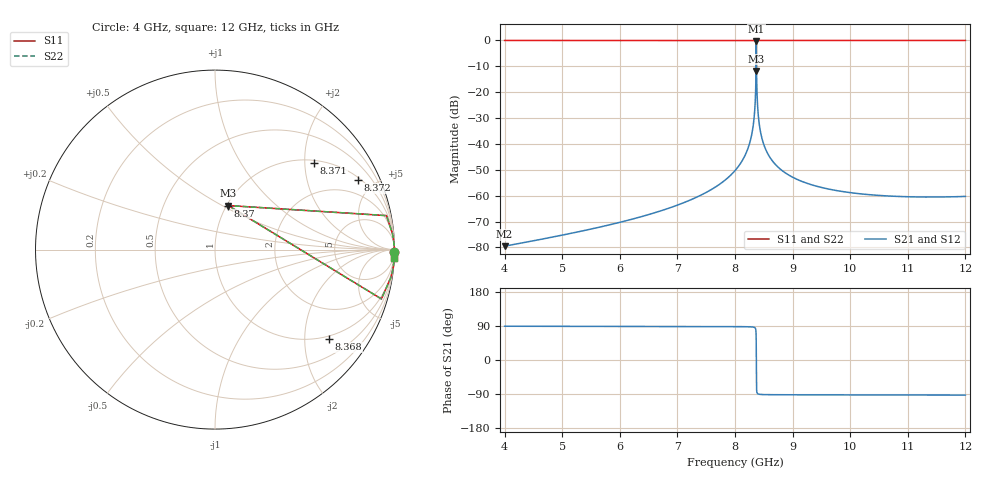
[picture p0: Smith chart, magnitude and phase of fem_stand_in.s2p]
! Created with skrf 1.9.0 (http://scikit-rf.org).
# Hz S RI R 50.0
!freq ReS11 ImS11 ReS21 ImS21 ReS12 ImS12 ReS22 ImS22
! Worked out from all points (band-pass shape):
!   8001 points, 4 GHz to 12 GHz, reference 50 ohm
!   highest |S21| = -0.30 dB at 8.37 GHz (marker M1); lowest = -79.5 dB at 4 GHz (marker M2)
!   |S21| within 3 dB of the highest: 8.36837 GHz to 8.370982 GHz (2.612 MHz wide, 0.0312 % of centre)
!   lowest |S11| = -11.8 dB at 8.37 GHz (marker M3), VSWR 1.69, Z = 50.8 + j26.7 ohm
!   |S11| at or under -10 dB: 8.369666 GHz to 8.3702 GHz (533.6 kHz wide, 0.00637 % of centre)
!   |S22| runs from -11.8 to 0.0 dB; largest |S21 - S12| = 3e-16
!   S11 on the Smith chart (normalised r, x): 4 GHz: open; 8.368 GHz: 0.92, -2.61; 8.37 GHz: 1.02, +0.53; 8.371 GHz: 1.07, +2.23; 8.372 GHz: 1.13, +4.02; 12 GHz: 0, -44
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4e9  0.9999 -0.0151  1.59e-06 0.000106  1.59e-06 0.000106  0.9999 -0.0151
5.334e9  0.9998 -0.0202  4.17e-06 0.000206  4.17e-06 0.000206  0.9998 -0.0202
6.667e9  0.9997 -0.0255  1.25e-05 0.000491  1.25e-05 0.000491  0.9997 -0.0255
7.496e9  0.9996 -0.0293  3.37e-05 0.00115  3.37e-05 0.00115  0.9996 -0.0293
8e9  0.9994 -0.0332  0.000101 0.00305  0.000101 0.00305  0.9994 -0.0332
8.148e9  0.9993 -0.0359  0.000189 0.00526  0.000189 0.00526  0.9993 -0.0359
8.249e9  0.9991 -0.041  0.000405 0.00989  0.000405 0.00989  0.9991 -0.041
8.302e9  0.9986 -0.0491  0.000878 0.0178  0.000878 0.0178  0.9986 -0.0491
8.321e9  0.9981 -0.0563  0.0014 0.0249  0.0014 0.0249  0.9981 -0.0563
8.341e9  0.9964 -0.0738  0.00314 0.0424  0.00314 0.0424  0.9964 -0.0738
8.368e9  0.6345 -0.4973  0.365 0.4657  0.365 0.4657  0.6345 -0.4973
8.37e9  0.0735 0.2456  0.926 -0.2771  0.926 -0.2771  0.0735 0.2456
8.371e9  0.5531 0.4814  0.4464 -0.5129  0.4464 -0.5129  0.5531 0.4814
8.372e9  0.7941 0.3884  0.2054 -0.4199  0.2054 -0.4199  0.7941 0.3884
8.396e9  0.9988 0.0153  0.000719 -0.0469  0.000719 -0.0469  0.9988 0.0153
8.425e9  0.9997 -0.00923  -0.000208 -0.0225  -0.000208 -0.0225  0.9997 -0.00923
8.462e9  0.9997 -0.0183  -0.000249 -0.0136  -0.000249 -0.0136  0.9997 -0.0183
8.606e9  0.9996 -0.0269  -0.000148 -0.0055  -0.000148 -0.0055  0.9996 -0.0269
8.887e9  0.9995 -0.0308  -8.31e-05 -0.00269  -8.31e-05 -0.00269  0.9995 -0.0308
9.334e9  0.9994 -0.0336  -5.45e-05 -0.00162  -5.45e-05 -0.00162  0.9994 -0.0336
1.0667e10  0.9992 -0.0395  -3.9e-05 -0.000985  -3.9e-05 -0.000985  0.9992 -0.0395
1.2e10  0.999 -0.045  -4.35e-05 -0.000967  -4.35e-05 -0.000967  0.999 -0.045
